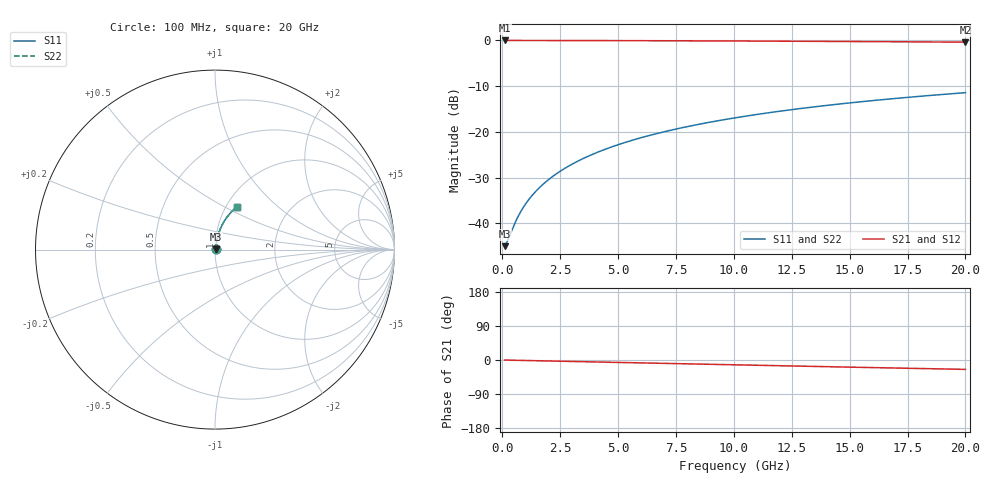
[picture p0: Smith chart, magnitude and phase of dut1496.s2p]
! Touchstone file exported from HFSS 2026.1.0
!  File:  C:/ffzhzh/LocalFiles/Ansys_Project_Files/temp_train_TMRDL_1496_1783167965_51560.aedt
!  Generated:  08:27:20 PM Jul  4, 2026
!  Design:  TMRDL
!  Project:  temp_train_TMRDL_1496_1783167965_51560
! Variables:
!  h_bsmrdl = 2um
!  h_ox = 20um
!  h_rdl = 5um
!  h_sub = 80um
!  h_tmrdl = 2.1um
!  h_tsv = 80um
!  h_via = 3um
!  l_bsmrdl = 300um
!  l_sub = 730.95um
!  l_tmrdl = 330.95um
!  m_sub = 200um
!  pitch = 27.68um
!  r_tsv = 6um
!  s_tmrdl = 10um
!  w_bsmrdl = 18um
!  w_sub = 500um
!  w_tmrdl = 10.68um
!  x_tsv_center1 = 336.29um
!  x_tsv_center2 = 654.29um
!  x_tsv_center3 = 995.92um
!  x_tsv_center4 = 1313.92um
!  x_tsv_center5 = 1655.55um
!  x_tsv_center6 = 1973.55um
# GHz S MA R 50.000000
! Terminal data exported
! Port[1] = TM_RDL1_1_T1
! Port[2] = TM_RDL1_1_T2
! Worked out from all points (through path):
!   200 points, 100 MHz to 20 GHz, reference 50 ohm
!   highest |S21| = -0.05 dB at 100 MHz (marker M1); lowest = -0.4 dB at 20 GHz (marker M2)
!   group delay of S21, straight-line fit = 3.44 ps
!   lowest |S11| = -45.0 dB at 100 MHz (marker M3), VSWR 1.01, Z = 50.5 + j0.155 ohm
!   |S11| at or under -10 dB: start of sweep to end of sweep
!   |S22| runs from -45.0 to -11.5 dB; largest |S21 - S12| = 3.1e-15
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0.1  0.005621 15.9  0.9946 -0.1  0.9946 -0.1  0.005621 15.9
! Gamma 0 0 0 0
! Port Impedance 50 0 50 0
0.2  0.006249 29.4  0.9946 -0.3  0.9946 -0.3  0.006249 29.4
0.5  0.009487 53.3  0.9944 -0.7  0.9944 -0.7  0.009487 53.3
0.6  0.01077 57.5  0.9943 -0.8  0.9943 -0.8  0.01077 57.5
0.8  0.01344 63.4  0.9941 -1.1  0.9941 -1.1  0.01344 63.4
0.9  0.0148 65.5  0.994 -1.2  0.994 -1.2  0.0148 65.5
1.1  0.01755 68.6  0.9939 -1.4  0.9939 -1.4  0.01755 68.6
1.4  0.02169 71.7  0.9936 -1.8  0.9936 -1.8  0.02169 71.7
1.8  0.02725 74.2  0.9933 -2.3  0.9933 -2.3  0.02725 74.2
2.3  0.03422 76.1  0.993 -3.0  0.993 -3.0  0.03422 76.1
2.9  0.04263 77.3  0.9925 -3.7  0.9925 -3.7  0.04263 77.3
3.5  0.05107 77.9  0.992 -4.5  0.992 -4.5  0.05107 77.9
4.2  0.06092 78.1  0.9913 -5.4  0.9913 -5.4  0.06092 78.1
5  0.07217 78.0  0.9904 -6.4  0.9904 -6.4  0.07217 78.0
5.9  0.08479 77.6  0.9892 -7.6  0.9892 -7.6  0.08479 77.6
6.8  0.09734 76.9  0.9879 -8.7  0.9879 -8.7  0.09734 76.9
8.3  0.1181 75.6  0.9853 -10.6  0.9853 -10.6  0.1181 75.6
10.1  0.1426 73.9  0.9816 -12.8  0.9816 -12.8  0.1426 73.9
11.7  0.164 72.1  0.9778 -14.8  0.9778 -14.8  0.164 72.2
13.4  0.1862 70.3  0.9734 -16.9  0.9734 -16.9  0.1862 70.3
16.7  0.2279 66.6  0.9636 -20.9  0.9636 -20.9  0.2278 66.6
20  0.2673 62.9  0.9526 -24.8  0.9526 -24.8  0.2673 62.9
